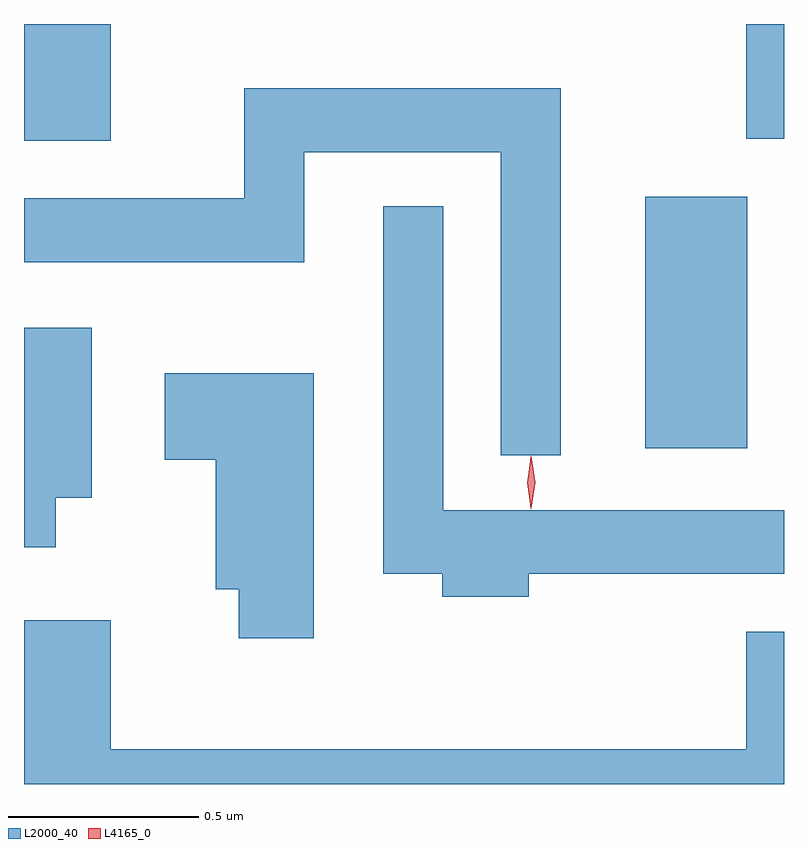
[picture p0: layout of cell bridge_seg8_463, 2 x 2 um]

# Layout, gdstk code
import gdstk
lib = gdstk.Library(unit=1e-6, precision=1e-09)
def R(c, l, rs):  # rectangles x0, y0, x1, y1
    for r in rs: c.add(gdstk.rectangle(r[:2], r[2:], *l))
def P(c, l, *ps):  # polygons
    for p in ps: c.add(gdstk.Polygon(p, *l))
L2000_40 = (2000, 40)
L4165_0 = (4165, 0)

bridge_seg8_463 = lib.new_cell('bridge_seg8_463')
R(bridge_seg8_463, L2000_40, [(588.216,1912.956,588.484,1913.619), (586.581,1913.766,586.809,1914.073), (588.481,1913.771,588.581,1914.073)])
P(bridge_seg8_463, L2000_40, [(587.994,1913.904),(587.161,1913.904),(587.161,1913.614),(586.581,1913.614),(586.581,1913.446),(587.319,1913.446),(587.319,1913.736),(587.836,1913.736),(587.836,1912.938),(587.994,1912.938)],
  [(587.909,1912.626),(588.581,1912.626),(588.581,1912.794),(587.684,1912.794),(587.684,1913.593),(587.526,1913.593),(587.526,1912.626),(587.681,1912.626),(587.681,1912.566),(587.909,1912.566)],
  [(586.664,1912.826),(586.759,1912.826),(586.759,1913.274),(586.581,1913.274),(586.581,1912.696),(586.664,1912.696)],
  [(587.344,1913.154),(586.951,1913.154),(586.951,1912.926),(587.086,1912.926),(587.086,1912.586),(587.146,1912.586),(587.146,1912.456),(587.344,1912.456)],
  [(588.581,1912.474),(588.481,1912.474),(588.481,1912.164),(586.809,1912.164),(586.809,1912.504),(586.581,1912.504),(586.581,1912.073),(588.581,1912.073)])
P(bridge_seg8_463, L4165_0, [(587.916,1912.797),(587.915,1912.798),(587.906,1912.867),(587.915,1912.936),(587.916,1912.936),(587.916,1912.936),(587.926,1912.867),(587.916,1912.798)],
  [(587.916,1912.799),(587.915,1912.8),(587.905,1912.866),(587.915,1912.932),(587.916,1912.933),(587.916,1912.932),(587.926,1912.866),(587.916,1912.8)])

lib.write_gds('bridge_seg8_463.gds')
